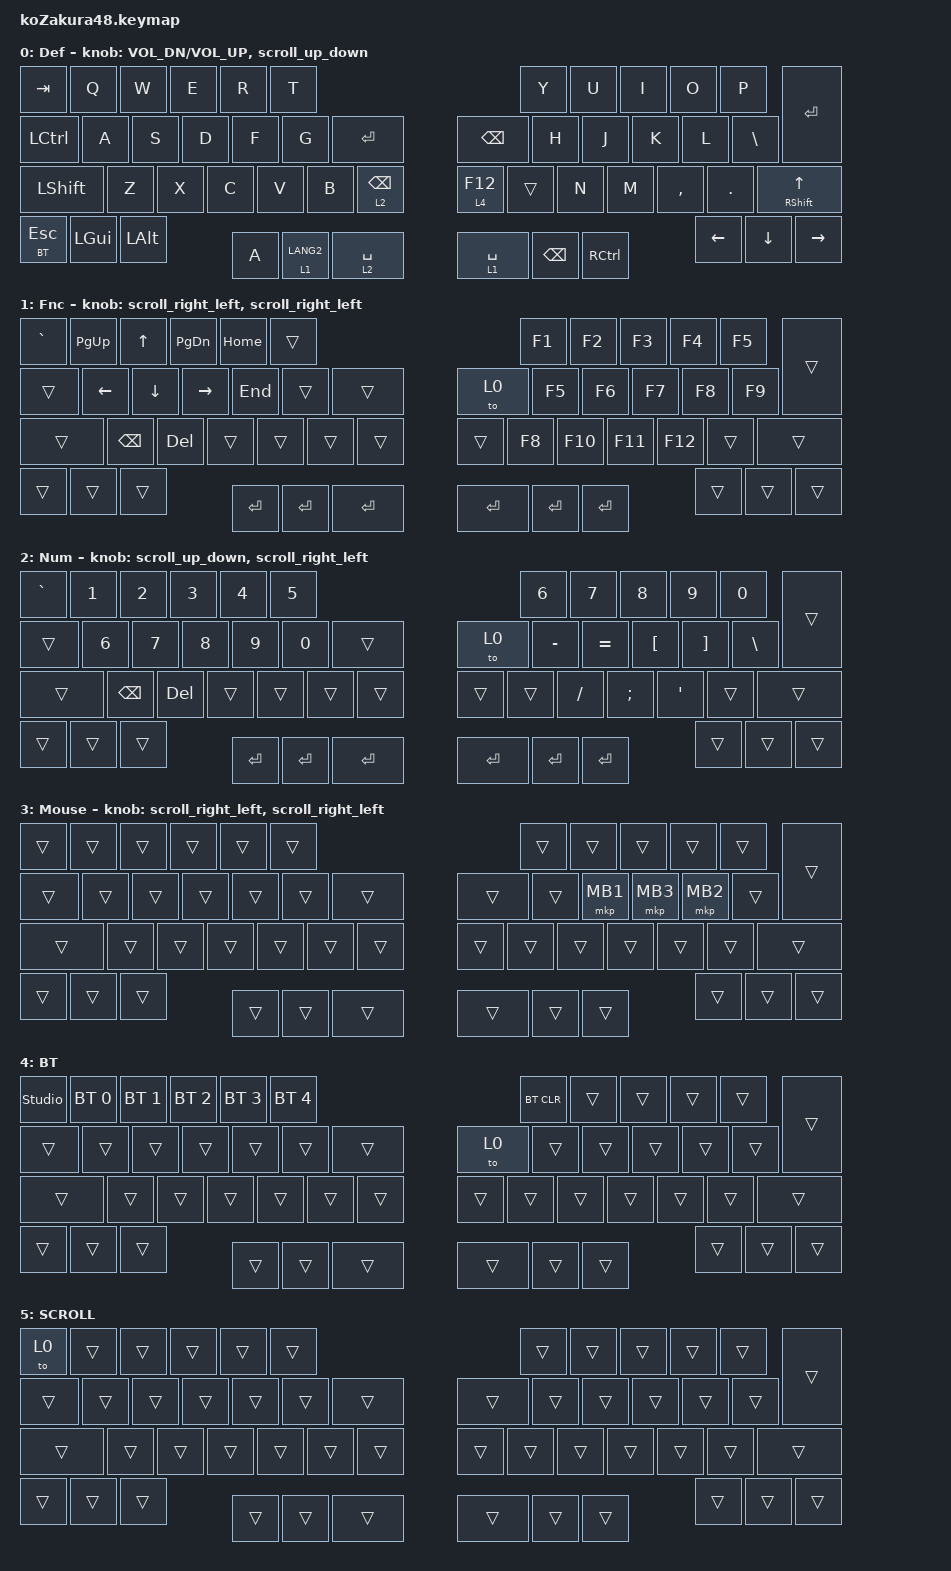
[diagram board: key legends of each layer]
#include <input/processors.dtsi>
#include <input/processors/runtime-input-processor.dtsi>
#include <dt-bindings/zmk/input_transform.h>
#include <zephyr/dt-bindings/input/input-event-codes.h>
#include <behaviors.dtsi>
#include <dt-bindings/zmk/bt.h>
#include <dt-bindings/zmk/keys.h>
#include <dt-bindings/zmk/pointing.h>
#include <behaviors/jpkeysforuslayout.dtsi>

#define ZMK_POINTING_DEFAULT_SCRL_VAL 100
#define DEF 0
#define FUNC 1
#define NUM 2
#define MOUSE 3
#define BT 4
#define SCROLL 5

&mt {
    flavor = "balanced";
    quick-tap-ms = <0>;
};

/ {
    macros {
        to_layer_0: to_layer_0 {
            compatible = "zmk,behavior-macro-one-param";
            #binding-cells = <1>;
            bindings = <&to 0 &macro_param_1to1 &kp MACRO_PLACEHOLDER>;
            label = "TO_LAYER_0";
        };
    };

    behaviors {
        lt_to_layer_0: lt_to_layer_0 {
            compatible = "zmk,behavior-hold-tap";
            label = "LAYER_TAP_TO_0";
            bindings = <&mo>, <&to_layer_0>;

            #binding-cells = <2>;
            tapping-term-ms = <200>;
        };

        mo_tog: mo_tog {
            compatible = "zmk,behavior-hold-tap";
            label = "MO_TOG";
            #binding-cells = <2>;
            flavor = "hold-preferred";
            tapping-term-ms = <200>;
            bindings = <&mo>, <&tog>;
        };

        scroll_up_down: mouse_wheel_up_down {
            compatible = "zmk,behavior-sensor-rotate";
            #sensor-binding-cells = <0>;
            bindings = <&msc SCRL_DOWN>, <&msc SCRL_UP>;

            tap-ms = <20>;
        };

        scroll_right_left: mouse_wheel_right_left {
            compatible = "zmk,behavior-sensor-rotate";
            #sensor-binding-cells = <0>;
            bindings = <&msc SCRL_LEFT>, <&msc SCRL_RIGHT>;

            tap-ms = <20>;
        };
    };

    keymap {
        compatible = "zmk,keymap";

        default_layer {
            label = "Def";
            bindings = <
&kp TAB     &kp Q     &kp W     &kp E  &kp R   &kp T                                        &kp Y         &kp U     &kp I     &kp O      &kp P      &kp ENTER
&kp LCTRL   &kp A     &kp S     &kp D  &kp F   &kp G        &kp ENTER        &kp BACKSPACE  &kp H         &kp J     &kp K     &kp L      &kp BSLH
&kp LSHIFT  &kp Z     &kp X     &kp C  &kp V   &kp B        &lt 2 BACKSPACE  &lt 4 F12      &trans        &kp N     &kp M     &kp COMMA  &kp DOT    &mt RSHIFT UP
&mt BT ESC  &kp LGUI  &kp LALT         &kp A   &lt 1 LANG2  &lt 2 SPACE      &lt 1 SPACE    &kp BACKSPACE &kp RCTRL           &kp LEFT   &kp DOWN   &kp RIGHT
            >;

            sensor-bindings =
                <&inc_dec_kp C_VOL_DN C_VOL_UP>,
                <&scroll_up_down>;
 //ロータリーエンコーダでボリューム調整
        };

        Function {
            label = "Fnc";
            bindings = <
&kp GRAVE  &kp PG_UP      &kp UP    &kp PG_DN  &kp HOME   &trans                &kp F1     &kp F2     &kp F3   &kp F4   &kp F5   &trans
&trans     &kp LEFT       &kp DOWN  &kp RIGHT  &kp END    &trans     &trans     &to 0      &kp F5     &kp F6   &kp F7   &kp F8   &kp F9
&trans     &kp BACKSPACE  &kp DEL   &trans     &trans     &trans     &trans     &trans     &kp F8     &kp F10  &kp F11  &kp F12  &trans  &trans
&trans     &trans         &trans    &kp ENTER  &kp ENTER  &kp ENTER  &kp ENTER  &kp ENTER  &kp ENTER  &trans   &trans   &trans
            >;

            sensor-bindings = <&scroll_right_left>, <&scroll_right_left>;
        };

        Number {
            label = "Num";
            bindings = <
&kp GRAVE  &kp N1         &kp N2   &kp N3     &kp N4     &kp N5                &kp N6     &kp N7     &kp N8     &kp N9    &kp N0    &trans
&trans     &kp N6         &kp N7   &kp N8     &kp N9     &kp N0     &trans     &to 0      &kp MINUS  &kp EQUAL  &kp LBKT  &kp RBKT  &kp BSLH
&trans     &kp BACKSPACE  &kp DEL  &trans     &trans     &trans     &trans     &trans     &trans     &kp FSLH   &kp SEMI  &kp SQT   &trans    &trans
&trans     &trans         &trans   &kp ENTER  &kp ENTER  &kp ENTER  &kp ENTER  &kp ENTER  &kp ENTER  &trans     &trans    &trans
            >;

            sensor-bindings = <&scroll_up_down>, <&scroll_right_left>;
        };

        Mouse {
            bindings = <
&trans  &trans  &trans  &trans  &trans  &trans          &trans  &trans  &trans    &trans    &trans    &trans
&trans  &trans  &trans  &trans  &trans  &trans  &trans  &trans  &trans  &mkp MB1  &mkp MB3  &mkp MB2  &trans
&trans  &trans  &trans  &trans  &trans  &trans  &trans  &trans  &trans  &trans    &trans    &trans    &trans  &trans
&trans  &trans  &trans  &trans  &trans  &trans  &trans  &trans  &trans  &trans    &trans    &trans
            >;

            sensor-bindings = <&scroll_right_left>, <&scroll_right_left>;

            label = "Mouse";
        };

        BT {
            bindings = <
&studio_unlock  &bt BT_SEL 0  &bt BT_SEL 1  &bt BT_SEL 2  &bt BT_SEL 3  &bt BT_SEL 4          &bt BT_CLR  &trans  &trans  &trans  &trans  &trans
&trans  &trans        &trans        &trans        &trans        &trans        &trans  &to 0       &trans  &trans  &trans  &trans  &trans
&trans  &trans        &trans        &trans        &trans        &trans        &trans  &trans      &trans  &trans  &trans  &trans  &trans  &trans
&trans  &trans        &trans        &trans        &trans        &trans        &trans  &trans      &trans  &trans  &trans  &trans
            >;

            label = "BT";
        };

        SCROLL {
            bindings = <
&to 0   &trans  &trans  &trans  &trans  &trans                    &trans  &trans  &trans  &trans  &trans  &trans
&trans  &trans  &trans  &trans  &trans  &trans  &trans    &trans  &trans  &trans  &trans  &trans  &trans
&trans  &trans  &trans  &trans  &trans  &trans  &trans    &trans  &trans  &trans  &trans  &trans  &trans  &trans
&trans  &trans  &trans          &trans  &trans  &trans    &trans  &trans  &trans          &trans  &trans  &trans
            >;
        };
    };
};
